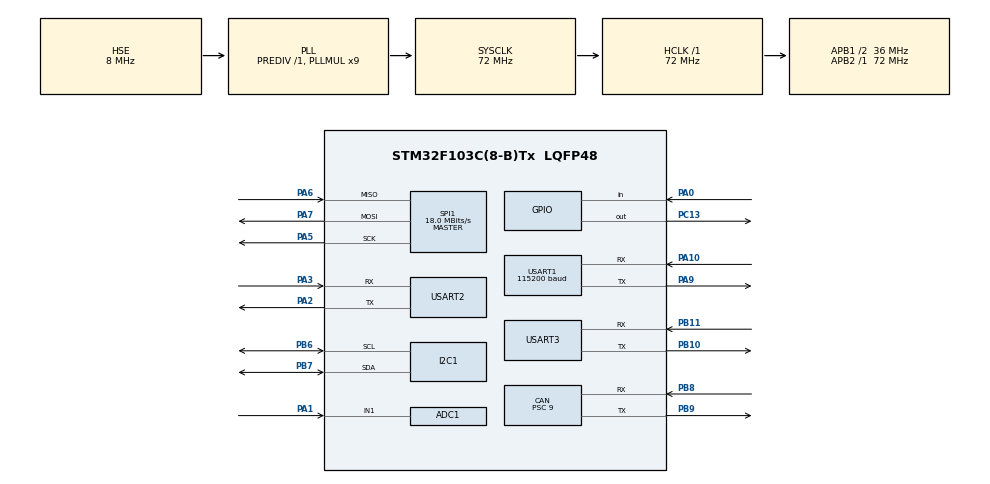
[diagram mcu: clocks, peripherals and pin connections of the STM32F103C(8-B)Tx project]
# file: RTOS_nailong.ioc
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ADC1.Channel-0\#ChannelRegularConversion=ADC_CHANNEL_1
ADC1.NbrOfConversionFlag=1
ADC1.Rank-0\#ChannelRegularConversion=1
ADC1.SamplingTime-0\#ChannelRegularConversion=ADC_SAMPLETIME_1CYCLE_5
ADC1.master=1
CAN.BS1=CAN_BS1_5TQ
CAN.BS2=CAN_BS2_2TQ
CAN.CalculateBaudRate=500000
CAN.CalculateTimeBit=2000
CAN.CalculateTimeQuantum=250.0
CAN.Prescaler=9
Dma.I2C1_TX.3.Direction=DMA_MEMORY_TO_PERIPH
Dma.I2C1_TX.3.Instance=DMA1_Channel6
Dma.I2C1_TX.3.MemDataAlignment=DMA_MDATAALIGN_BYTE
Dma.I2C1_TX.3.MemInc=DMA_MINC_ENABLE
Dma.I2C1_TX.3.Mode=DMA_NORMAL
Dma.I2C1_TX.3.PeriphDataAlignment=DMA_PDATAALIGN_BYTE
Dma.I2C1_TX.3.PeriphInc=DMA_PINC_DISABLE
Dma.I2C1_TX.3.Priority=DMA_PRIORITY_LOW
Dma.Request0=USART1_TX
Dma.Request1=USART1_RX
Dma.Request2=USART2_TX
Dma.Request3=I2C1_TX
Dma.USART1_RX.1.Direction=DMA_PERIPH_TO_MEMORY
Dma.USART1_RX.1.Instance=DMA1_Channel5
Dma.USART1_RX.1.MemDataAlignment=DMA_MDATAALIGN_BYTE
Dma.USART1_RX.1.MemInc=DMA_MINC_ENABLE
Dma.USART1_RX.1.Mode=DMA_NORMAL
Dma.USART1_RX.1.PeriphDataAlignment=DMA_PDATAALIGN_BYTE
Dma.USART1_RX.1.PeriphInc=DMA_PINC_DISABLE
Dma.USART1_RX.1.Priority=DMA_PRIORITY_MEDIUM
Dma.USART1_TX.0.Direction=DMA_MEMORY_TO_PERIPH
Dma.USART1_TX.0.Instance=DMA1_Channel4
Dma.USART1_TX.0.MemDataAlignment=DMA_MDATAALIGN_BYTE
Dma.USART1_TX.0.MemInc=DMA_MINC_ENABLE
Dma.USART1_TX.0.Mode=DMA_NORMAL
Dma.USART1_TX.0.PeriphDataAlignment=DMA_PDATAALIGN_BYTE
Dma.USART1_TX.0.PeriphInc=DMA_PINC_DISABLE
Dma.USART1_TX.0.Priority=DMA_PRIORITY_MEDIUM
Dma.USART2_TX.2.Direction=DMA_MEMORY_TO_PERIPH
Dma.USART2_TX.2.Instance=DMA1_Channel7
Dma.USART2_TX.2.MemDataAlignment=DMA_MDATAALIGN_BYTE
Dma.USART2_TX.2.MemInc=DMA_MINC_ENABLE
Dma.USART2_TX.2.Mode=DMA_NORMAL
Dma.USART2_TX.2.PeriphDataAlignment=DMA_PDATAALIGN_BYTE
Dma.USART2_TX.2.PeriphInc=DMA_PINC_DISABLE
Dma.USART2_TX.2.Priority=DMA_PRIORITY_LOW
FREERTOS.Tasks01=defaultTask,24,128,StartDefaultTask,Default,NULL,Dynamic,NULL,NULL
FREERTOS.configGENERATE_RUN_TIME_STATS=1
FREERTOS.configRECORD_STACK_HIGH_ADDRESS=0
FREERTOS.configTOTAL_HEAP_SIZE=8000
FREERTOS.configUSE_IDLE_HOOK=1
FREERTOS.configUSE_MALLOC_FAILED_HOOK=1
FREERTOS.configUSE_STATS_FORMATTING_FUNCTIONS=1
FREERTOS.configUSE_TRACE_FACILITY=1
I2C1.I2C_Mode=I2C_Fast
Mcu.Family=STM32F1
Mcu.Name=STM32F103C(8-B)Tx
Mcu.Package=LQFP48
NVIC.DMA1_Channel4_IRQn=true\:5\:0\:false\:false\:true\:true\:false\:true\:true
NVIC.DMA1_Channel5_IRQn=true\:5\:0\:false\:false\:true\:true\:false\:true\:true
NVIC.DMA1_Channel6_IRQn=true\:5\:0\:false\:false\:true\:true\:false\:true\:true
NVIC.DMA1_Channel7_IRQn=true\:5\:0\:false\:false\:true\:true\:false\:true\:true
NVIC.I2C1_ER_IRQn=true\:12\:0\:true\:false\:true\:true\:true\:true\:true
NVIC.I2C1_EV_IRQn=true\:12\:0\:true\:false\:true\:true\:true\:true\:true
NVIC.PriorityGroup=NVIC_PRIORITYGROUP_4
NVIC.TIM1_UP_IRQn=true\:5\:0\:false\:false\:true\:true\:true\:true\:true
NVIC.TIM4_IRQn=true\:15\:0\:false\:false\:true\:false\:false\:true\:true
NVIC.TimeBase=TIM4_IRQn
NVIC.TimeBaseIP=TIM4
NVIC.USART1_IRQn=true\:5\:0\:false\:false\:true\:true\:false\:true\:true
NVIC.USART2_IRQn=true\:5\:0\:false\:false\:true\:true\:true\:true\:true
NVIC.USB_HP_CAN1_TX_IRQn=true\:5\:0\:false\:false\:true\:true\:true\:true\:true
NVIC.USB_LP_CAN1_RX0_IRQn=true\:5\:0\:false\:false\:true\:true\:true\:true\:true
PA0-WKUP.GPIO_PuPd=GPIO_PULLUP
PA0-WKUP.Signal=GPIO_Input
PA1.Signal=ADCx_IN1
PA10.Mode=Asynchronous
PA10.Signal=USART1_RX
PA13.Mode=Serial_Wire
PA13.Signal=SYS_JTMS-SWDIO
PA14.Mode=Serial_Wire
PA14.Signal=SYS_JTCK-SWCLK
PA2.Mode=Asynchronous
PA2.Signal=USART2_TX
PA3.Mode=Asynchronous
PA3.Signal=USART2_RX
PA5.Mode=Full_Duplex_Master
PA5.Signal=SPI1_SCK
PA6.Mode=Full_Duplex_Master
PA6.Signal=SPI1_MISO
PA7.Mode=Full_Duplex_Master
PA7.Signal=SPI1_MOSI
PA9.Mode=Asynchronous
PA9.Signal=USART1_TX
PB10.Mode=Asynchronous
PB10.Signal=USART3_TX
PB11.Mode=Asynchronous
PB11.Signal=USART3_RX
PB6.Mode=I2C
PB6.Signal=I2C1_SCL
PB7.Mode=I2C
PB7.Signal=I2C1_SDA
PB8.Mode=CAN_Activate
PB8.Signal=CAN_RX
PB9.Mode=CAN_Activate
PB9.Signal=CAN_TX
PC13-TAMPER-RTC.Signal=GPIO_Output
PD0-OSC_IN.Mode=HSE-External-Oscillator
PD0-OSC_IN.Signal=RCC_OSC_IN
PD1-OSC_OUT.Mode=HSE-External-Oscillator
PD1-OSC_OUT.Signal=RCC_OSC_OUT
ProjectManager.HeapSize=0x200
ProjectManager.StackSize=0x400
ProjectManager.TargetToolchain=MDK-ARM V5.32
RCC.ADCPresc=RCC_ADCPCLK2_DIV6
RCC.AHBFreq_Value=72000000
RCC.APB1CLKDivider=RCC_HCLK_DIV2
RCC.APB1Freq_Value=36000000
RCC.APB1TimFreq_Value=72000000
RCC.APB2Freq_Value=72000000
RCC.APB2TimFreq_Value=72000000
RCC.HCLKFreq_Value=72000000
RCC.PLLMUL=RCC_PLL_MUL9
RCC.PLLSourceVirtual=RCC_PLLSOURCE_HSE
RCC.SYSCLKFreq_VALUE=72000000
RCC.SYSCLKSource=RCC_SYSCLKSOURCE_PLLCLK
RCC.USBFreq_Value=72000000
SH.ADCx_IN1.0=ADC1_IN1,IN1
SPI1.BaudRatePrescaler=SPI_BAUDRATEPRESCALER_4
SPI1.CalculateBaudRate=18.0 MBits/s
SPI1.Direction=SPI_DIRECTION_2LINES
SPI1.Mode=SPI_MODE_MASTER
SPI1.VirtualType=VM_MASTER
TIM1.Period=9
TIM1.Prescaler=71
USART1.BaudRate=115200
USART1.VirtualMode=VM_ASYNC
USART2.VirtualMode=VM_ASYNC
USART3.VirtualMode=VM_ASYNC
VP_FREERTOS_VS_CMSIS_V2.Mode=CMSIS_V2
VP_SYS_VS_tim4.Mode=TIM4
VP_TIM1_VS_ClockSourceINT.Mode=Internal
board=custom

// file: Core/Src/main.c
/* USER CODE BEGIN Header */
/**
  ******************************************************************************
  * @file           : main.c
  * @brief          : Main program body
  ******************************************************************************
  * @attention
  *
  * Copyright (c) 2025 STMicroelectronics.
  * All rights reserved.
  *
  * This software is licensed under terms that can be found in the LICENSE file
  * in the root directory of this software component.
  * If no LICENSE file comes with this software, it is provided AS-IS.
  *
  ******************************************************************************
  */
/* USER CODE END Header */
#include "main.h"
#include "cmsis_os.h"
#include "adc.h"
#include "can.h"
#include "dma.h"
#include "i2c.h"
#include "spi.h"
#include "tim.h"
#include "usart.h"
#include "gpio.h"

/* USER CODE BEGIN Includes */
#include <stdio.h>
/* USER CODE END Includes */

/* USER CODE BEGIN PV */
CAN_TxHeaderTypeDef TxHeader;
volatile uint32_t FreeRTOSRunTimeTicks = 0;  // 32位计数器
/* USER CODE END PV */

void SystemClock_Config(void);
void MX_FREERTOS_Init(void);

/* USER CODE BEGIN 0 */
int fputc(int ch, FILE *f)
{
    HAL_UART_Transmit(&huart1, (uint8_t*)&ch, 1, 0xffff);
    return ch;
}
/* USER CODE END 0 */

int main(void)
{

  /* MCU Configuration--------------------------------------------------------*/

  /* Reset of all peripherals, Initializes the Flash interface and the Systick. */
  HAL_Init();

  /* Configure the system clock */
  SystemClock_Config();

  /* Initialize all configured peripherals */
  MX_GPIO_Init();
  MX_DMA_Init();
  MX_ADC1_Init();
  MX_CAN_Init();
  MX_I2C1_Init();
  MX_SPI1_Init();
  MX_USART1_UART_Init();
  MX_USART2_UART_Init();
  MX_USART3_UART_Init();
  MX_TIM1_Init();
  /* USER CODE BEGIN 2 */
	HAL_TIM_Base_Start_IT(&htim1);
  /* USER CODE END 2 */

  /* Init scheduler */
  osKernelInitialize();

  /* Call init function for freertos objects (in cmsis_os2.c) */
  MX_FREERTOS_Init();

  /* Start scheduler */
  osKernelStart();

  /* We should never get here as control is now taken by the scheduler */

  /* Infinite loop */
  while (1)
  {

  }
}

void SystemClock_Config(void)
{
  RCC_OscInitTypeDef RCC_OscInitStruct = {0};
  RCC_ClkInitTypeDef RCC_ClkInitStruct = {0};
  RCC_PeriphCLKInitTypeDef PeriphClkInit = {0};

  /** Initializes the RCC Oscillators according to the specified parameters
  * in the RCC_OscInitTypeDef structure.
  */
  RCC_OscInitStruct.OscillatorType = RCC_OSCILLATORTYPE_HSE;
  RCC_OscInitStruct.HSEState = RCC_HSE_ON;
  RCC_OscInitStruct.HSEPredivValue = RCC_HSE_PREDIV_DIV1;
  RCC_OscInitStruct.HSIState = RCC_HSI_ON;
  RCC_OscInitStruct.PLL.PLLState = RCC_PLL_ON;
  RCC_OscInitStruct.PLL.PLLSource = RCC_PLLSOURCE_HSE;
  RCC_OscInitStruct.PLL.PLLMUL = RCC_PLL_MUL9;
  if (HAL_RCC_OscConfig(&RCC_OscInitStruct) != HAL_OK)
  {
    Error_Handler();
  }

  /** Initializes the CPU, AHB and APB buses clocks
  */
  RCC_ClkInitStruct.ClockType = RCC_CLOCKTYPE_HCLK|RCC_CLOCKTYPE_SYSCLK
                              |RCC_CLOCKTYPE_PCLK1|RCC_CLOCKTYPE_PCLK2;
  RCC_ClkInitStruct.SYSCLKSource = RCC_SYSCLKSOURCE_PLLCLK;
  RCC_ClkInitStruct.AHBCLKDivider = RCC_SYSCLK_DIV1;
  RCC_ClkInitStruct.APB1CLKDivider = RCC_HCLK_DIV2;
  RCC_ClkInitStruct.APB2CLKDivider = RCC_HCLK_DIV1;

  if (HAL_RCC_ClockConfig(&RCC_ClkInitStruct, FLASH_LATENCY_2) != HAL_OK)
  {
    Error_Handler();
  }
  PeriphClkInit.PeriphClockSelection = RCC_PERIPHCLK_ADC;
  PeriphClkInit.AdcClockSelection = RCC_ADCPCLK2_DIV6;
  if (HAL_RCCEx_PeriphCLKConfig(&PeriphClkInit) != HAL_OK)
  {
    Error_Handler();
  }
}

/* USER CODE BEGIN 4 */
unsigned long getRunTimeCounterValue(void) {
    return FreeRTOSRunTimeTicks;
}
/* USER CODE END 4 */

void HAL_TIM_PeriodElapsedCallback(TIM_HandleTypeDef *htim)
{
  if (htim->Instance == TIM4)
  {
    HAL_IncTick();
  }
  /* USER CODE BEGIN Callback 1 */
	  if (htim->Instance == TIM1)
  {
    FreeRTOSRunTimeTicks++;
  }
  /* USER CODE END Callback 1 */
}

void Error_Handler(void)
{
  __disable_irq();
  while (1)
  {
  }
}

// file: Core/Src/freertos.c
/* USER CODE BEGIN Header */
/**/
/**
  ******************************************************************************
  * File Name          : freertos.c
  * Description        : Code for freertos applications
  ******************************************************************************
  * @attention
  *
  * Copyright (c) 2025 STMicroelectronics.
  * All rights reserved.
  *
  * This software is licensed under terms that can be found in the LICENSE file
  * in the root directory of this software component.
  * If no LICENSE file comes with this software, it is provided AS-IS.
  *
  ******************************************************************************
  */
/* USER CODE END Header */

#include "FreeRTOS.h"
#include "task.h"
#include "main.h"
#include "cmsis_os.h"

/* USER CODE BEGIN Includes */
#include <stdbool.h>
#include "CPU_Stat.h"
#include "UARTProtocol.h"
#include "Servo.h"
#include "Nailong.h"
#include "UARTProtocol.h"
#include "btn_task.h"
/* USER CODE END Includes */

/* USER CODE BEGIN Variables */

extern volatile uint32_t ulIdleCycleCount;
extern uint32_t ulIdleCycleLast;
extern uint32_t ulIdleCycleDiff;

/* USER CODE END Variables */
/* Definitions for defaultTask */
osThreadId_t defaultTaskHandle;
const osThreadAttr_t defaultTask_attributes = {
  .name = "defaultTask",
  .stack_size = 128 * 4,
  .priority = (osPriority_t) osPriorityNormal,
};

void StartDefaultTask(void *argument);

void MX_FREERTOS_Init(void); /* (MISRA C 2004 rule 8.1) */

/* Hook prototypes */
void configureTimerForRunTimeStats(void);
unsigned long getRunTimeCounterValue(void);
void vApplicationIdleHook(void);
void vApplicationMallocFailedHook(void);

/* USER CODE BEGIN 1 */
/* Functions needed when configGENERATE_RUN_TIME_STATS is on */
__weak void configureTimerForRunTimeStats(void)
{

}

__weak unsigned long getRunTimeCounterValue(void)
{
return 0;
}
/* USER CODE END 1 */

/* USER CODE BEGIN 2 */
void vApplicationIdleHook( void )
{
   /* vApplicationIdleHook() will only be called if configUSE_IDLE_HOOK is set
   to 1 in FreeRTOSConfig.h. It will be called on each iteration of the idle
   task. It is essential that code added to this hook function never attempts
   to block in any way (for example, call xQueueReceive() with a block time
   specified, or call vTaskDelay()). If the application makes use of the
   vTaskDelete() API function (as this demo application does) then it is also
   important that vApplicationIdleHook() is permitted to return to its calling
   function, because it is the responsibility of the idle task to clean up
   memory allocated by the kernel to any task that has since been deleted. */
	//idletimeCounter();
}
/* USER CODE END 2 */

/* USER CODE BEGIN 5 */
void vApplicationMallocFailedHook(void)
{
   /* vApplicationMallocFailedHook() will only be called if
   configUSE_MALLOC_FAILED_HOOK is set to 1 in FreeRTOSConfig.h. It is a hook
   function that will get called if a call to pvPortMalloc() fails.
   pvPortMalloc() is called internally by the kernel whenever a task, queue,
   timer or semaphore is created. It is also called by various parts of the
   demo application. If heap_1.c or heap_2.c are used, then the size of the
   heap available to pvPortMalloc() is defined by configTOTAL_HEAP_SIZE in
   FreeRTOSConfig.h, and the xPortGetFreeHeapSize() API function can be used
   to query the size of free heap space that remains (although it does not
   provide information on how the remaining heap might be fragmented). */

	EnterSafemode(0x21);
    for( ;; )
    {
    }

}
/* USER CODE END 5 */

void MX_FREERTOS_Init(void) {
  /* USER CODE BEGIN Init */
	Nailong_Init();
  /* USER CODE END Init */

  /* Create the thread(s) */
  /* creation of defaultTask */
  defaultTaskHandle = osThreadNew(StartDefaultTask, NULL, &defaultTask_attributes);

  /* USER CODE BEGIN RTOS_THREADS */
  /* add threads, ... */
	CpuStatTask_Init();//CPU Usage OK
	NailongTask_Init();
	//TaskStatTask_Init();
	UART_Protocol_Init() ;
	btn_task_create();
  /* USER CODE END RTOS_THREADS */

}

void StartDefaultTask(void *argument)
{
  /* USER CODE BEGIN StartDefaultTask */
  /* Infinite loop */
  for(;;)
  {
		ButtonLED(true);
		osDelay(500);
		ButtonLED(false);
		osDelay(500);
  }
  /* USER CODE END StartDefaultTask */
}
